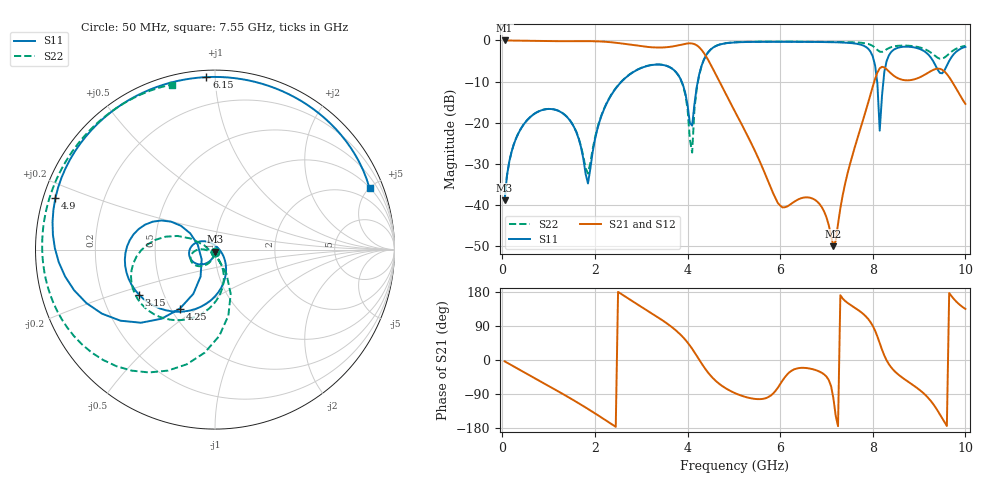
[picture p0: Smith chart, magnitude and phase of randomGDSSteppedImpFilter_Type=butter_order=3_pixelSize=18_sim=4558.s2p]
! freq	dB(S11)	phase(S11)	dB(S12)	phase(S12)
!  dB(S21)	phase(S21)	dB(S22)	phase(S22)
!S-par simulation data
#  GHz  S  DB  R 50
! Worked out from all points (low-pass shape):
!   200 points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, 50 MHz to 10 GHz, reference 50 ohm
!   highest |S21| = -0.01 dB at 50 MHz (marker M1); lowest = -50.0 dB at 7.15 GHz (marker M2)
!   |S21| within 3 dB of the highest: start of sweep to 4.351 GHz
!   lowest |S11| = -38.8 dB at 50 MHz (marker M3), VSWR 1.02, Z = 49.9 - j1.14 ohm
!   |S11| at or under -10 dB: start of sweep to 2.576 GHz; 3.873 GHz to 4.221 GHz (348.8 MHz wide, 8.62 % of centre); 8.095 GHz to 8.229 GHz (134.2 MHz wide, 1.64 % of centre)
!   |S22| runs from -38.8 to -0.3 dB; largest |S21 - S12| = 0
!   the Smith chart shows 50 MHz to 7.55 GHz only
!   S11 on the Smith chart (normalised r, x): 50 MHz: 1.00, -0.02; 3.15 GHz: 0.36, -0.24; 4.25 GHz: 0.55, -0.43; 4.9 GHz: 0.03, +0.16; 6.15 GHz: 0.04, +0.95; 7.55 GHz: 1.05, +5.03
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0.05  -38.84 -92.9  -0.01 -3.5  -0.01 -3.5  -38.82 -92.3
0.25  -25.20 -108.5  -0.04 -17.3  -0.04 -17.3  -25.19 -105.8
0.75  -17.43 -146.1  -0.15 -51.4  -0.15 -51.4  -17.42 -137.4
1.75  -28.73 114.2  -0.16 -121.6  -0.16 -121.6  -28.16 -171.6
1.85  -34.74 39.7  -0.17 -129.1  -0.17 -129.1  -32.32 -119.3
2.4  -12.45 -85.5  -0.50 -172.3  -0.50 -172.3  -12.37 -82.3
3.15  -6.15 -149.4  -1.59 129.0  -1.59 129.0  -6.11 -133.3
3.4  -5.87 -169.6  -1.73 109.5  -1.73 109.5  -5.84 -150.9
3.9  -10.75 147.5  -0.94 60.4  -0.94 60.4  -10.92 165.3
4.1  -20.69 -143.5  -0.74 29.6  -0.74 29.6  -27.23 -76.1
4.25  -8.34 -120.8  -1.64 1.2  -1.64 1.2  -8.52 -78.5
4.9  -0.59 162.2  -14.61 -80.0  -14.61 -80.0  -0.56 -155.6
5.05  -0.46 151.5  -17.82 -88.8  -17.82 -88.8  -0.43 -164.7
6.15  -0.33 92.8  -40.33 -38.3  -40.33 -38.3  -0.30 150.8
6.7  -0.36 67.0  -38.40 -24.2  -38.40 -24.2  -0.33 133.0
7.15  -0.44 44.9  -49.96 -101.3  -49.96 -101.3  -0.36 118.5
7.55  -0.66 21.6  -28.31 142.8  -28.31 142.8  -0.44 104.6
8  -3.90 -33.5  -11.20 90.0  -11.20 90.0  -1.35 84.8
8.15  -21.91 -132.0  -6.78 44.6  -6.78 44.6  -2.73 84.4
8.35  -3.58 52.8  -7.56 -11.5  -7.56 -11.5  -1.85 87.5
9.15  -2.93 -21.5  -8.15 -94.0  -8.15 -94.0  -2.25 52.5
10  -1.57 -13.1  -15.41 134.8  -15.41 134.8  -1.31 44.0
